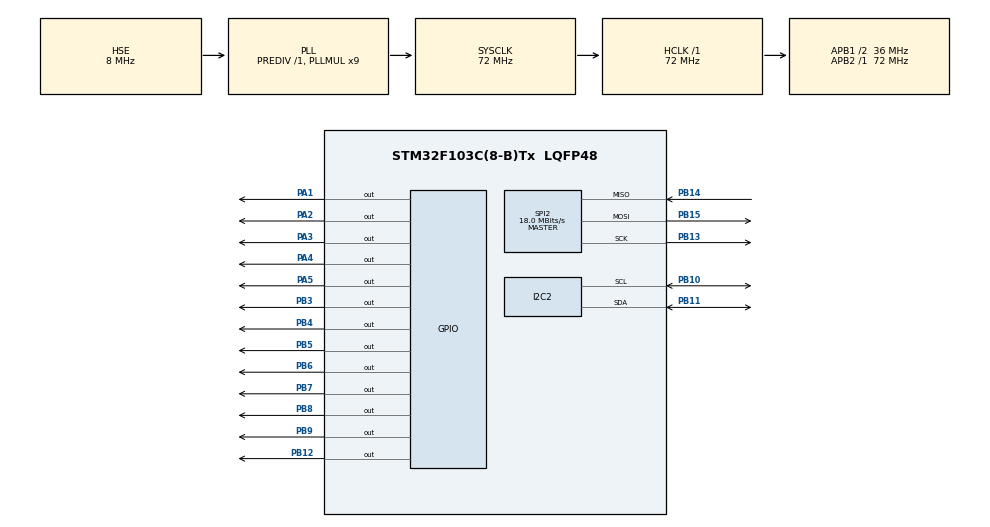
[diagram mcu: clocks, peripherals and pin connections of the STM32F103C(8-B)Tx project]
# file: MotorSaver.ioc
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FATFS._MAX_SS=4096
FATFS._USE_LFN=1
Mcu.Family=STM32F1
Mcu.Name=STM32F103C(8-B)Tx
Mcu.Package=LQFP48
NVIC.PriorityGroup=NVIC_PRIORITYGROUP_4
PA1.Signal=GPIO_Output
PA13.Mode=Serial_Wire
PA13.Signal=SYS_JTMS-SWDIO
PA14.Mode=Serial_Wire
PA14.Signal=SYS_JTCK-SWCLK
PA2.Signal=GPIO_Output
PA3.Signal=GPIO_Output
PA4.Signal=GPIO_Output
PA5.Signal=GPIO_Output
PB10.Mode=I2C
PB10.Signal=I2C2_SCL
PB11.Mode=I2C
PB11.Signal=I2C2_SDA
PB12.Signal=GPIO_Output
PB13.Mode=Full_Duplex_Master
PB13.Signal=SPI2_SCK
PB14.Mode=Full_Duplex_Master
PB14.Signal=SPI2_MISO
PB15.Mode=Full_Duplex_Master
PB15.Signal=SPI2_MOSI
PB3.Signal=GPIO_Output
PB4.Signal=GPIO_Output
PB5.Signal=GPIO_Output
PB6.Signal=GPIO_Output
PB7.Signal=GPIO_Output
PB8.Signal=GPIO_Output
PB9.Signal=GPIO_Output
PD0-OSC_IN.Mode=HSE-External-Oscillator
PD0-OSC_IN.Signal=RCC_OSC_IN
PD1-OSC_OUT.Mode=HSE-External-Oscillator
PD1-OSC_OUT.Signal=RCC_OSC_OUT
ProjectManager.HeapSize=0x200
ProjectManager.StackSize=0x400
ProjectManager.TargetToolchain=STM32CubeIDE
RCC.AHBFreq_Value=72000000
RCC.APB1CLKDivider=RCC_HCLK_DIV2
RCC.APB1Freq_Value=36000000
RCC.APB1TimFreq_Value=72000000
RCC.APB2Freq_Value=72000000
RCC.APB2TimFreq_Value=72000000
RCC.HCLKFreq_Value=72000000
RCC.PLLMUL=RCC_PLL_MUL9
RCC.PLLSourceVirtual=RCC_PLLSOURCE_HSE
RCC.SYSCLKFreq_VALUE=72000000
RCC.SYSCLKSource=RCC_SYSCLKSOURCE_PLLCLK
RCC.USBFreq_Value=72000000
SPI2.CalculateBaudRate=18.0 MBits/s
SPI2.Direction=SPI_DIRECTION_2LINES
SPI2.Mode=SPI_MODE_MASTER
SPI2.VirtualType=VM_MASTER
TIM1.Period=0xffff-1
TIM1.Prescaler=72-1
VP_FATFS_VS_Generic.Mode=User_defined
VP_TIM1_VS_ClockSourceINT.Mode=Internal
board=custom

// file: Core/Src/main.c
/* USER CODE BEGIN Header */
/**
  ******************************************************************************
  * @file           : main.c
  * @brief          : Main program body
  ******************************************************************************
  * @attention
  *
  * Copyright (c) 2022 STMicroelectronics.
  * All rights reserved.
  *
  * This software is licensed under terms that can be found in the LICENSE file
  * in the root directory of this software component.
  * If no LICENSE file comes with this software, it is provided AS-IS.
  *
  ******************************************************************************
  */
/* USER CODE END Header */
#include "main.h"
#include "fatfs.h"

/* USER CODE BEGIN Includes */
#include "LCD1602.h"
#include "fatfs_sd.h"
#include "string.h"
#include "stdio.h"

/* USER CODE END Includes */

/* USER CODE BEGIN PTD */
typedef enum
{
	ALARMED_BY_TEMPERATURE,
	ALARMED_BY_PRESSION,
	NORMAL,
	OFF
}Sys_status;

typedef struct {
	uint8_t seconds;
	uint8_t minutes;
	uint8_t hour;
	uint8_t dayofweek;
	uint8_t dayofmonth;
	uint8_t month;
	uint8_t year;
} TIME;

TIME time;

/* USER CODE END PTD */

/* USER CODE BEGIN PD */
#define Temp_Pin GPIO_PIN_1
#define Temp_GPIO_Port GPIOA

#define Pres_Pin GPIO_PIN_2
#define Pres_GPIO_Port GPIOA

#define Led_Pin GPIO_PIN_3
#define Led_GPIO_Port GPIOA

#define Button_Pin GPIO_PIN_4
#define Button_GPIO_Port GPIOA

#define Relay_Pin GPIO_PIN_5
#define Relay_GPIO_Port GPIOA

#define RTC_ADDRESS 0xD0
/* USER CODE END PD */

I2C_HandleTypeDef hi2c2;

SPI_HandleTypeDef hspi2;

TIM_HandleTypeDef htim1;

/* USER CODE BEGIN PV */
char str_seg[8]="";
unsigned int segundos = 30;
Sys_status status = NORMAL ;

FATFS fs; // file system
FIL fil; // file
FRESULT fresult; // to store the result
char date_time_screen[15]; // to store data

UINT br, bw; // file read/write count

/* capacity related variables */
FATFS *pfs;
DWORD fre_clust;
uint32_t total, free_space;

/* USER CODE END PV */

void SystemClock_Config(void);
static void MX_GPIO_Init(void);
static void MX_TIM1_Init(void);
static void MX_SPI2_Init(void);
static void MX_I2C2_Init(void);

/* USER CODE BEGIN 0 */

// Convert normal decimal numbers to binary coded decimal
uint8_t decToBcd(int val)
{
  return (uint8_t)( (val/10*16) + (val%10) );
}
// Convert binary coded decimal to normal decimal numbers
int bcdToDec(uint8_t val)
{
  return (int)( (val/16*10) + (val%16) );
}

void Set_Time (uint8_t sec, uint8_t min, uint8_t hour, uint8_t dow, uint8_t dom, uint8_t month, uint8_t year)
{
	uint8_t set_time[7];
	set_time[0] = decToBcd(sec);
	set_time[1] = decToBcd(min);
	set_time[2] = decToBcd(hour);
	set_time[3] = decToBcd(dow);
	set_time[4] = decToBcd(dom);
	set_time[5] = decToBcd(month);
	set_time[6] = decToBcd(year);

	HAL_I2C_Mem_Write(&hi2c2, RTC_ADDRESS, 0x00, 1, set_time, 7, 1000);
}

void Get_Time (void)
{
	uint8_t get_time[7];
	HAL_I2C_Mem_Read(&hi2c2, RTC_ADDRESS, 0x00, 1, get_time, 7, 1000);
	time.seconds = bcdToDec(get_time[0]);
	time.minutes = bcdToDec(get_time[1]);
	time.hour = bcdToDec(get_time[2]);
	time.dayofweek = bcdToDec(get_time[3]);
	time.dayofmonth = bcdToDec(get_time[4]);
	time.month = bcdToDec(get_time[5]);
	time.year = bcdToDec(get_time[6]);
}

void print_information(char* status, char* date){
	  lcd_clear();
	  lcd_put_cur(0, 0);
	  lcd_send_string(status);
	  lcd_put_cur(1, 0);
	  lcd_send_string(date);
	  HAL_Delay(100);
  }

void record_log(char date[23], char* msg){

	fresult = f_open (&fil, "log.txt", FA_OPEN_ALWAYS  | FA_WRITE);
	fresult= f_puts(date, &fil);
	fresult= f_puts(msg, &fil);
	fresult= f_puts("\n", &fil);
	fresult=f_close(&fil);
}

void trigger_alarm(char* msg){
	char date_time_log [25];

	Get_Time();
	sprintf (date_time_log,"%02d:%02d:%02d %02d-%02d-%02d ---> ", time.hour, time.minutes, time.seconds, time.dayofmonth, time.month, time.year);
	record_log(date_time_log,msg);
	HAL_GPIO_WritePin(Led_GPIO_Port, Led_Pin, GPIO_PIN_SET);
	//Encender Alarma
	sprintf(str_seg,"Temp: %u",segundos);
	print_information(msg, str_seg);

	if(HAL_GPIO_ReadPin(Button_GPIO_Port, Button_Pin)){
		Get_Time();
		sprintf (date_time_log,"%02d:%02d:%02d %02d-%02d-%02d ---> ", time.hour, time.minutes, time.seconds, time.dayofmonth, time.month, time.year);
		record_log(date_time_log,"Reinicio Contador");
		print_information(msg, "Reinicio Contador");
		segundos=30;
	}

	if(segundos==0){
		status = OFF;
	}

	segundos--;
	HAL_Delay(1000);
}

/* USER CODE END 0 */

int main(void)
{

  /* MCU Configuration--------------------------------------------------------*/

  /* Reset of all peripherals, Initializes the Flash interface and the Systick. */
  HAL_Init();

  /* Configure the system clock */
  SystemClock_Config();

  /* Initialize all configured peripherals */
  MX_GPIO_Init();
  MX_TIM1_Init();
  MX_SPI2_Init();
  MX_FATFS_Init();
  MX_I2C2_Init();
  /* USER CODE BEGIN 2 */

  HAL_TIM_Base_Start(&htim1);

  // Initialize LCD
  lcd_init();
  lcd_put_cur(0, 2);
  lcd_send_string("Motor Saver");
  HAL_Delay(3000);
  lcd_clear();

  //Mount SD
  fresult = f_mount(&fs,"",0);

  if(fresult!=FR_OK){
	  lcd_put_cur(0, 2);
	  lcd_send_string("Error SD");
	  HAL_Delay(3000);
	  lcd_clear();
  }
  else {
	  lcd_put_cur(0, 2);
	  lcd_send_string("OK SD");
	  HAL_Delay(3000);
	  lcd_clear();
  }

  // Initialize status of Relay
  HAL_GPIO_WritePin(Relay_GPIO_Port, Relay_Pin, GPIO_PIN_RESET);

  /* USER CODE END 2 */

  /* Infinite loop */
  /* USER CODE BEGIN WHILE */
  //Set_Time(00, 37, 16, 7, 18, 3, 23);

  while (1)
  {
    /* USER CODE END WHILE */

    /* USER CODE BEGIN 3 */
	  Get_Time();
	  sprintf (date_time_screen, "%02d:%02d %02d-%02d-%02d", time.hour, time.minutes, time.dayofmonth, time.month, time.year);
	  switch (status)
	  {
	  	  case NORMAL:
	  		  // Set relay's status LOW, for relay NC
  		      HAL_GPIO_WritePin(Relay_GPIO_Port, Relay_Pin, GPIO_PIN_SET);
  		      HAL_GPIO_WritePin(Led_GPIO_Port, Led_Pin, GPIO_PIN_RESET);

  		      // Read sensor
	  		  if(HAL_GPIO_ReadPin(Temp_GPIO_Port, Temp_Pin)){
	  			  status = ALARMED_BY_TEMPERATURE;
	  		  }
	  		  if(HAL_GPIO_ReadPin(Pres_GPIO_Port, Pres_Pin)){
	  			  status = ALARMED_BY_PRESSION;
	  		  }

	  		  print_information("ESTADO OK", date_time_screen);
	  		  break;

	  	  case ALARMED_BY_TEMPERATURE:
	  		  trigger_alarm("TEMPERATURA ALTA");
	  		  break;

	  	  case ALARMED_BY_PRESSION:
	  		  trigger_alarm("PRESION ALTA");
	  		  break;

	  	  case OFF:
	  		  // Set relay's status HIGH -> This should interrupt current of motor
  		      HAL_GPIO_WritePin(Relay_GPIO_Port, Relay_Pin, GPIO_PIN_RESET);
  		      print_information("MOTOR APAGADO", date_time_screen);
	  		  record_log(date_time_screen,"Se apago el motor");

  		      // Check sensors. If both are ok next status is NORMAL.
	  		  if(!HAL_GPIO_ReadPin(Temp_GPIO_Port, Temp_Pin) && !HAL_GPIO_ReadPin(Pres_GPIO_Port, Pres_Pin)){
	  			  status = NORMAL;
	  			  segundos = 30;
		  		  record_log(date_time_screen,"Parametros OK");
	  		  }
	  		  break;

	  }

  }
  /* USER CODE END 3 */
}

void SystemClock_Config(void)
{
  RCC_OscInitTypeDef RCC_OscInitStruct = {0};
  RCC_ClkInitTypeDef RCC_ClkInitStruct = {0};

  /** Initializes the RCC Oscillators according to the specified parameters
  * in the RCC_OscInitTypeDef structure.
  */
  RCC_OscInitStruct.OscillatorType = RCC_OSCILLATORTYPE_HSE;
  RCC_OscInitStruct.HSEState = RCC_HSE_ON;
  RCC_OscInitStruct.HSEPredivValue = RCC_HSE_PREDIV_DIV1;
  RCC_OscInitStruct.HSIState = RCC_HSI_ON;
  RCC_OscInitStruct.PLL.PLLState = RCC_PLL_ON;
  RCC_OscInitStruct.PLL.PLLSource = RCC_PLLSOURCE_HSE;
  RCC_OscInitStruct.PLL.PLLMUL = RCC_PLL_MUL9;
  if (HAL_RCC_OscConfig(&RCC_OscInitStruct) != HAL_OK)
  {
    Error_Handler();
  }

  /** Initializes the CPU, AHB and APB buses clocks
  */
  RCC_ClkInitStruct.ClockType = RCC_CLOCKTYPE_HCLK|RCC_CLOCKTYPE_SYSCLK
                              |RCC_CLOCKTYPE_PCLK1|RCC_CLOCKTYPE_PCLK2;
  RCC_ClkInitStruct.SYSCLKSource = RCC_SYSCLKSOURCE_PLLCLK;
  RCC_ClkInitStruct.AHBCLKDivider = RCC_SYSCLK_DIV1;
  RCC_ClkInitStruct.APB1CLKDivider = RCC_HCLK_DIV2;
  RCC_ClkInitStruct.APB2CLKDivider = RCC_HCLK_DIV1;

  if (HAL_RCC_ClockConfig(&RCC_ClkInitStruct, FLASH_LATENCY_2) != HAL_OK)
  {
    Error_Handler();
  }
}

static void MX_I2C2_Init(void)
{

  hi2c2.Instance = I2C2;
  hi2c2.Init.ClockSpeed = 100000;
  hi2c2.Init.DutyCycle = I2C_DUTYCYCLE_2;
  hi2c2.Init.OwnAddress1 = 0;
  hi2c2.Init.AddressingMode = I2C_ADDRESSINGMODE_7BIT;
  hi2c2.Init.DualAddressMode = I2C_DUALADDRESS_DISABLE;
  hi2c2.Init.OwnAddress2 = 0;
  hi2c2.Init.GeneralCallMode = I2C_GENERALCALL_DISABLE;
  hi2c2.Init.NoStretchMode = I2C_NOSTRETCH_DISABLE;
  if (HAL_I2C_Init(&hi2c2) != HAL_OK)
  {
    Error_Handler();
  }

}

static void MX_SPI2_Init(void)
{

  /* SPI2 parameter configuration*/
  hspi2.Instance = SPI2;
  hspi2.Init.Mode = SPI_MODE_MASTER;
  hspi2.Init.Direction = SPI_DIRECTION_2LINES;
  hspi2.Init.DataSize = SPI_DATASIZE_8BIT;
  hspi2.Init.CLKPolarity = SPI_POLARITY_LOW;
  hspi2.Init.CLKPhase = SPI_PHASE_1EDGE;
  hspi2.Init.NSS = SPI_NSS_SOFT;
  hspi2.Init.BaudRatePrescaler = SPI_BAUDRATEPRESCALER_2;
  hspi2.Init.FirstBit = SPI_FIRSTBIT_MSB;
  hspi2.Init.TIMode = SPI_TIMODE_DISABLE;
  hspi2.Init.CRCCalculation = SPI_CRCCALCULATION_DISABLE;
  hspi2.Init.CRCPolynomial = 10;
  if (HAL_SPI_Init(&hspi2) != HAL_OK)
  {
    Error_Handler();
  }

}

static void MX_TIM1_Init(void)
{

  TIM_ClockConfigTypeDef sClockSourceConfig = {0};
  TIM_MasterConfigTypeDef sMasterConfig = {0};

  htim1.Instance = TIM1;
  htim1.Init.Prescaler = 72-1;
  htim1.Init.CounterMode = TIM_COUNTERMODE_UP;
  htim1.Init.Period = 0xffff-1;
  htim1.Init.ClockDivision = TIM_CLOCKDIVISION_DIV1;
  htim1.Init.RepetitionCounter = 0;
  htim1.Init.AutoReloadPreload = TIM_AUTORELOAD_PRELOAD_DISABLE;
  if (HAL_TIM_Base_Init(&htim1) != HAL_OK)
  {
    Error_Handler();
  }
  sClockSourceConfig.ClockSource = TIM_CLOCKSOURCE_INTERNAL;
  if (HAL_TIM_ConfigClockSource(&htim1, &sClockSourceConfig) != HAL_OK)
  {
    Error_Handler();
  }
  sMasterConfig.MasterOutputTrigger = TIM_TRGO_RESET;
  sMasterConfig.MasterSlaveMode = TIM_MASTERSLAVEMODE_DISABLE;
  if (HAL_TIMEx_MasterConfigSynchronization(&htim1, &sMasterConfig) != HAL_OK)
  {
    Error_Handler();
  }

}

static void MX_GPIO_Init(void)
{
  GPIO_InitTypeDef GPIO_InitStruct = {0};

  /* GPIO Ports Clock Enable */
  __HAL_RCC_GPIOD_CLK_ENABLE();
  __HAL_RCC_GPIOA_CLK_ENABLE();
  __HAL_RCC_GPIOB_CLK_ENABLE();

  /*Configure GPIO pin Output Level */
  HAL_GPIO_WritePin(GPIOA, GPIO_PIN_1|GPIO_PIN_2|GPIO_PIN_3|GPIO_PIN_4
                          |GPIO_PIN_5, GPIO_PIN_RESET);

  /*Configure GPIO pin Output Level */
  HAL_GPIO_WritePin(GPIOB, GPIO_PIN_12|GPIO_PIN_3|GPIO_PIN_4|GPIO_PIN_5
                          |GPIO_PIN_6|GPIO_PIN_7|GPIO_PIN_8|GPIO_PIN_9, GPIO_PIN_RESET);

  /*Configure GPIO pins : PA1 PA2 PA3 PA4
                           PA5 */
  GPIO_InitStruct.Pin = GPIO_PIN_1|GPIO_PIN_2|GPIO_PIN_3|GPIO_PIN_4
                          |GPIO_PIN_5;
  GPIO_InitStruct.Mode = GPIO_MODE_OUTPUT_PP;
  GPIO_InitStruct.Pull = GPIO_NOPULL;
  GPIO_InitStruct.Speed = GPIO_SPEED_FREQ_LOW;
  HAL_GPIO_Init(GPIOA, &GPIO_InitStruct);

  /*Configure GPIO pins : PB12 PB3 PB4 PB5
                           PB6 PB7 PB8 PB9 */
  GPIO_InitStruct.Pin = GPIO_PIN_12|GPIO_PIN_3|GPIO_PIN_4|GPIO_PIN_5
                          |GPIO_PIN_6|GPIO_PIN_7|GPIO_PIN_8|GPIO_PIN_9;
  GPIO_InitStruct.Mode = GPIO_MODE_OUTPUT_PP;
  GPIO_InitStruct.Pull = GPIO_NOPULL;
  GPIO_InitStruct.Speed = GPIO_SPEED_FREQ_LOW;
  HAL_GPIO_Init(GPIOB, &GPIO_InitStruct);

}

void Error_Handler(void)
{
  __disable_irq();
  while (1)
  {
  }
}
